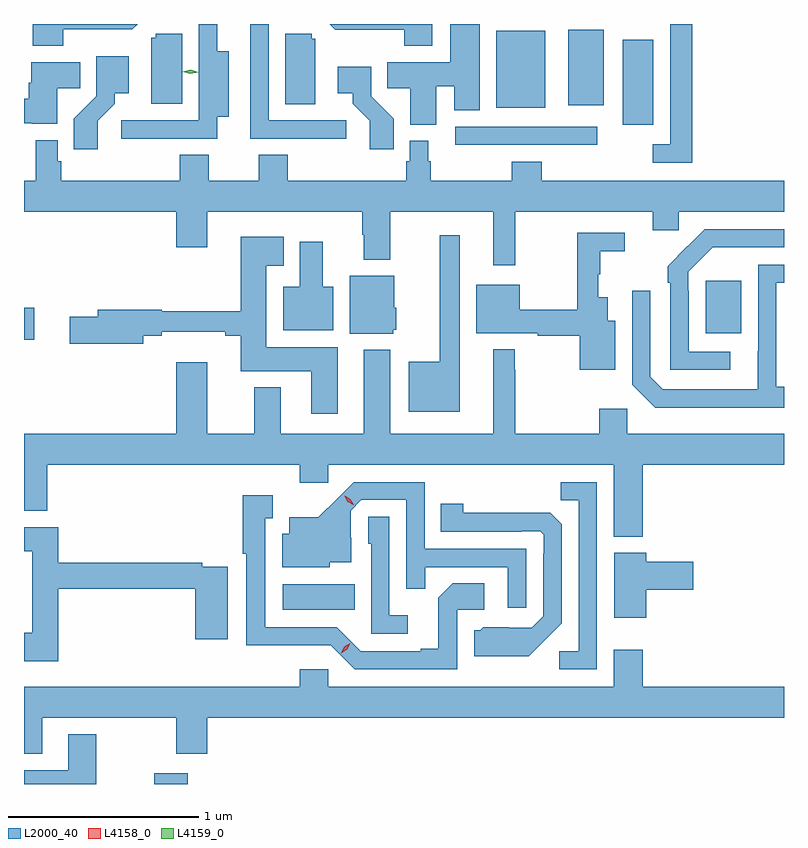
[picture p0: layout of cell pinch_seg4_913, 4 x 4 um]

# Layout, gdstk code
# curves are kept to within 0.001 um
import gdstk
lib = gdstk.Library(unit=1e-6, precision=1e-09)
def R(c, l, rs):  # rectangles x0, y0, x1, y1
    for r in rs: c.add(gdstk.rectangle(r[:2], r[2:], *l))
def P(c, l, *ps):  # polygons
    for p in ps: c.add(gdstk.Polygon(p, *l))
L2000_40 = (2000, 40)
L4158_0 = (4158, 0)
L4159_0 = (4159, 0)

pinch_seg4_913 = lib.new_cell('pinch_seg4_913')
R(pinch_seg4_913, L2000_40, [(668.389,800.468,668.567,800.524), (669.066,801.386,669.446,801.52), (667.704,802.805,667.759,802.975), (671.291,802.841,671.479,803.116), (669.975,803.832,670.72,803.928), (670.856,803.937,671.017,804.385), (670.19,804.026,670.447,804.433), (670.568,804.041,670.756,804.439)])
P(pinch_seg4_913, L2000_40, [(671.222,804.468),(671.106,804.468),(671.106,803.835),(671.013,803.835),(671.013,803.739),(671.222,803.739)],
  [(669.4,803.961),(668.991,803.961),(668.991,804.468),(668.895,804.468),(668.895,803.865),(669.175,803.865),(669.175,803.863),(669.4,803.863)],
  [(668.441,803.865),(668.722,803.865),(668.722,803.981),(668.782,803.981),(668.782,804.325),(668.722,804.325),(668.722,804.468),(668.625,804.468),(668.625,804.221),(668.624,804.221),(668.624,803.961),(668.217,803.961),(668.217,803.863),(668.441,803.863)],
  [(667.911,804.44),(668.275,804.44),(668.303,804.468),(667.751,804.468),(667.751,804.353),(667.911,804.353)],
  [(669.853,804.468),(669.312,804.468),(669.343,804.437),(669.442,804.437),(669.442,804.438),(669.706,804.438),(669.706,804.353),(669.853,804.353)],
  [(669.874,804.14),(669.968,804.14),(669.968,804.013),(670.102,804.013),(670.102,804.468),(669.947,804.468),(669.947,804.268),(669.616,804.268),(669.616,804.13),(669.737,804.13),(669.737,803.939),(669.874,803.939)],
  [(669.238,804.39),(669.219,804.39),(669.219,804.417),(669.08,804.417),(669.08,804.046),(669.238,804.046)],
  [(668.536,804.417),(668.397,804.417),(668.397,804.396),(668.375,804.396),(668.375,804.048),(668.536,804.048)],
  [(668.092,803.959),(668.182,804.049),(668.182,804.104),(668.254,804.104),(668.254,804.298),(668.085,804.298),(668.085,804.089),(667.966,803.97),(667.966,803.808),(668.092,803.808)],
  [(667.879,804.13),(668,804.13),(668,804.268),(667.742,804.268),(667.742,804.158),(667.73,804.158),(667.73,804.074),(667.704,804.074),(667.704,803.946),(667.746,803.946),(667.746,803.942),(667.879,803.942)],
  [(669.65,803.97),(669.531,804.089),(669.531,804.244),(669.354,804.244),(669.354,804.104),(669.434,804.104),(669.434,804.049),(669.525,803.959),(669.525,803.808),(669.65,803.808)],
  [(670.289,803.48),(671.012,803.48),(671.012,803.382),(671.151,803.382),(671.151,803.48),(671.704,803.48),(671.704,803.644),(670.43,803.644),(670.43,803.743),(670.27,803.743),(670.27,803.644),(669.844,803.644),(669.844,803.745),(669.832,803.745),(669.832,803.854),(669.735,803.854),(669.735,803.745),(669.715,803.745),(669.715,803.644),(669.092,803.644),(669.092,803.78),(668.939,803.78),(668.939,803.644),(668.677,803.644),(668.677,803.78),(668.525,803.78),(668.525,803.644),(667.901,803.644),(667.901,803.745),(667.881,803.745),(667.881,803.857),(667.765,803.857),(667.765,803.644),(667.704,803.644),(667.704,803.48),(668.504,803.48),(668.504,803.292),(668.668,803.292),(668.668,803.48),(669.484,803.48),(669.484,803.36),(669.491,803.36),(669.491,803.228),(669.631,803.228),(669.631,803.48),(670.175,803.48),(670.175,803.199),(670.289,803.199)],
  [(671.422,802.743),(671.202,802.743),(671.202,803.063),(671.199,803.063),(671.199,803.163),(671.328,803.292),(671.704,803.292),(671.704,803.388),(671.288,803.388),(671.091,803.193),(671.091,803.105),(671.106,803.105),(671.106,802.647),(671.422,802.647)],
  [(670.816,802.906),(670.777,802.906),(670.777,803.029),(670.727,803.029),(670.727,803.151),(670.738,803.151),(670.738,803.272),(670.867,803.272),(670.867,803.37),(670.617,803.37),(670.617,802.964),(670.312,802.964),(670.312,803.095),(670.085,803.095),(670.085,802.841),(670.408,802.841),(670.408,802.828),(670.628,802.828),(670.628,802.649),(670.816,802.649)],
  [(669.997,803.356),(669.893,803.356),(669.893,802.69),(669.728,802.69),(669.728,802.427),(669.997,802.427)],
  [(669.355,802.768),(668.98,802.768),(668.98,803.195),(669.07,803.195),(669.07,803.347),(668.846,803.347),(668.846,802.957),(668.428,802.957),(668.428,802.964),(668.093,802.964),(668.093,802.928),(667.944,802.928),(667.944,802.786),(668.332,802.786),(668.332,802.828),(668.428,802.828),(668.428,802.847),(668.762,802.847),(668.762,802.828),(668.846,802.828),(668.846,802.64),(669.215,802.64),(669.215,802.416),(669.355,802.416)],
  [(669.331,803.086),(669.277,803.086),(669.277,803.323),(669.155,803.323),(669.155,803.086),(669.068,803.086),(669.068,802.856),(669.331,802.856)],
  [(671.704,802.558),(671.664,802.558),(671.664,803.106),(671.704,803.106),(671.704,803.202),(671.568,803.202),(671.567,802.545),(671.067,802.545),(671.001,802.611),(671.001,803.065),(670.905,803.065),(670.905,802.569),(671.026,802.448),(671.704,802.448)],
  [(669.648,802.86),(669.664,802.86),(669.664,802.974),(669.652,802.974),(669.652,803.143),(669.419,803.143),(669.419,802.838),(669.648,802.838)],
  [(669.155,802.053),(669.306,802.053),(669.306,802.148),(670.808,802.148),(670.808,801.77),(670.961,801.77),(670.961,802.148),(671.704,802.148),(671.704,802.312),(670.878,802.312),(670.878,802.444),(670.732,802.444),(670.732,802.312),(670.289,802.312),(670.289,802.649),(670.286,802.649),(670.286,802.756),(670.175,802.756),(670.175,802.312),(669.631,802.312),(669.631,802.753),(669.491,802.753),(669.491,802.312),(669.055,802.312),(669.055,802.555),(668.915,802.555),(668.915,802.312),(668.668,802.312),(668.668,802.687),(668.504,802.687),(668.504,802.312),(667.704,802.312),(667.704,801.905),(667.826,801.905),(667.826,802.148),(669.155,802.148)],
  [(670.719,802.056),(670.528,802.056),(670.528,801.961),(670.623,801.961),(670.623,801.168),(670.521,801.168),(670.521,801.072),(670.719,801.072)],
  [(670.347,801.705),(669.813,801.705),(669.813,802.056),(669.44,802.056),(669.253,801.871),(669.101,801.871),(669.101,801.784),(669.062,801.784),(669.062,801.608),(669.312,801.608),(669.312,801.635),(669.427,801.635),(669.427,801.764),(669.423,801.764),(669.423,801.906),(669.48,801.963),(669.717,801.963),(669.717,801.496),(669.815,801.496),(669.815,801.609),(670.251,801.609),(670.251,801.396),(670.347,801.396)],
  [(669.984,801.384),(670.126,801.384),(670.126,801.524),(669.961,801.524),(669.885,801.448),(669.885,801.181),(669.791,801.181),(669.791,801.168),(669.477,801.168),(669.351,801.294),(668.974,801.294),(668.974,801.867),(669.013,801.867),(669.013,801.988),(668.856,801.988),(668.856,801.679),(668.873,801.679),(668.873,801.197),(669.318,801.198),(669.444,801.072),(669.984,801.072)],
  [(670.441,801.221),(670.533,801.314),(670.533,801.836),(670.474,801.895),(670.017,801.896),(670.017,801.943),(669.898,801.943),(669.898,801.795),(670.322,801.795),(670.322,801.798),(670.422,801.798),(670.44,801.78),(670.44,801.68),(670.437,801.68),(670.437,801.351),(670.377,801.291),(670.12,801.292),(670.104,801.276),(670.073,801.276),(670.073,801.14),(670.361,801.14)],
  [(669.724,801.355),(669.627,801.355),(669.627,801.875),(669.516,801.875),(669.516,801.732),(669.531,801.732),(669.531,801.258),(669.724,801.258)],
  [(667.883,801.496),(668.606,801.496),(668.606,801.231),(668.776,801.231),(668.776,801.612),(668.642,801.612),(668.642,801.632),(667.883,801.632),(667.883,801.82),(667.704,801.82),(667.704,801.692),(667.748,801.692),(667.748,801.265),(667.704,801.265),(667.704,801.113),(667.883,801.113)],
  [(670.978,801.491),(671.227,801.491),(671.227,801.638),(670.978,801.638),(670.978,801.685),(670.811,801.685),(670.811,801.342),(670.978,801.342)],
  [(667.801,800.816),(668.504,800.816),(668.504,800.628),(668.668,800.628),(668.668,800.816),(671.704,800.816),(671.704,800.98),(670.961,800.98),(670.961,801.175),(670.808,801.175),(670.808,800.98),(669.306,800.98),(669.306,801.073),(669.155,801.073),(669.155,800.98),(667.704,800.98),(667.704,800.626),(667.801,800.626)],
  [(668.085,800.731),(667.937,800.731),(667.937,800.541),(667.704,800.541),(667.704,800.468),(668.085,800.468)])
P(pinch_seg4_913, L4158_0, [(669.438,801.937),(669.408,801.953),(669.391,801.983),(669.391,801.984),(669.391,801.984),(669.422,801.968),(669.439,801.938),(669.439,801.937)],
  [(669.373,801.157),(669.373,801.158),(669.39,801.19),(669.421,801.21),(669.422,801.21),(669.422,801.21),(669.405,801.177),(669.373,801.157)])
P(pinch_seg4_913, L4159_0, [(668.58,804.206),(668.54,804.217),(668.539,804.217),(668.54,804.217),(668.581,804.226),(668.621,804.215),(668.622,804.215),(668.621,804.215)])

lib.write_gds('pinch_seg4_913.gds')
